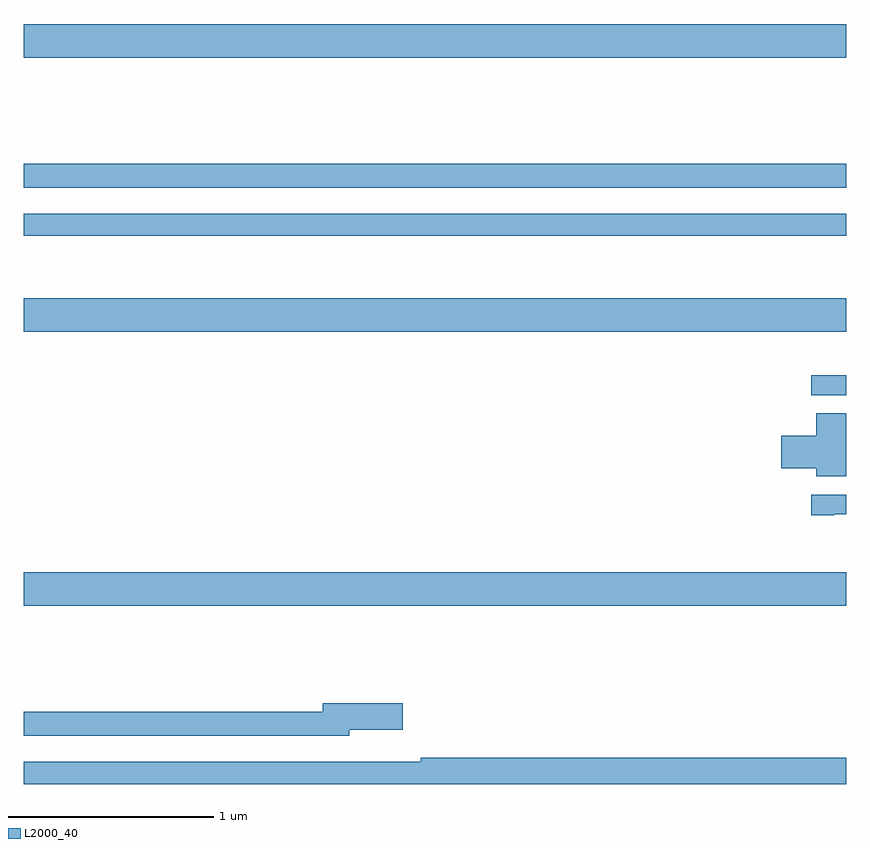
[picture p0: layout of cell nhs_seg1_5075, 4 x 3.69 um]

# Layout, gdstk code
import gdstk
lib = gdstk.Library(unit=1e-6, precision=1e-09)
def R(c, l, rs):  # rectangles x0, y0, x1, y1
    for r in rs: c.add(gdstk.rectangle(r[:2], r[2:], *l))
def A(c, l, x, y, w, h, nx, ny, dx, dy):  # array of equal rectangles
    R(c, l, [(x+i*dx, y+j*dy, x+i*dx+w, y+j*dy+h) for i in range(nx) for j in range(ny)])
def P(c, l, *ps):  # polygons
    for p in ps: c.add(gdstk.Polygon(p, *l))
L2000_40 = (2000, 40)

nhs_seg1_5075 = lib.new_cell('nhs_seg1_5075')
A(nhs_seg1_5075, L2000_40, 387, 509.108, 4, 0.164, 1, 3, 0, 1.332)
R(nhs_seg1_5075, L2000_40, [(390.828,510.132,391,510.228), (387,510.906,391,511.014), (387,511.14,391,511.256)])
P(nhs_seg1_5075, L2000_40, [(391,510.043),(390.854,510.043),(390.854,509.935),(390.684,509.935),(390.684,509.777),(390.854,509.777),(390.854,509.738),(391,509.738)],
  [(390.94,509.553),(391,509.553),(391,509.649),(390.828,509.649),(390.828,509.548),(390.94,509.548)],
  [(388.582,508.505),(388.843,508.505),(388.843,508.635),(388.454,508.635),(388.454,508.592),(387,508.592),(387,508.476),(388.582,508.476)],
  [(391,508.37),(388.93,508.37),(388.93,508.351),(388.678,508.351),(388.678,508.35),(387,508.35),(387,508.242),(391,508.242)])

lib.write_gds('nhs_seg1_5075.gds')
